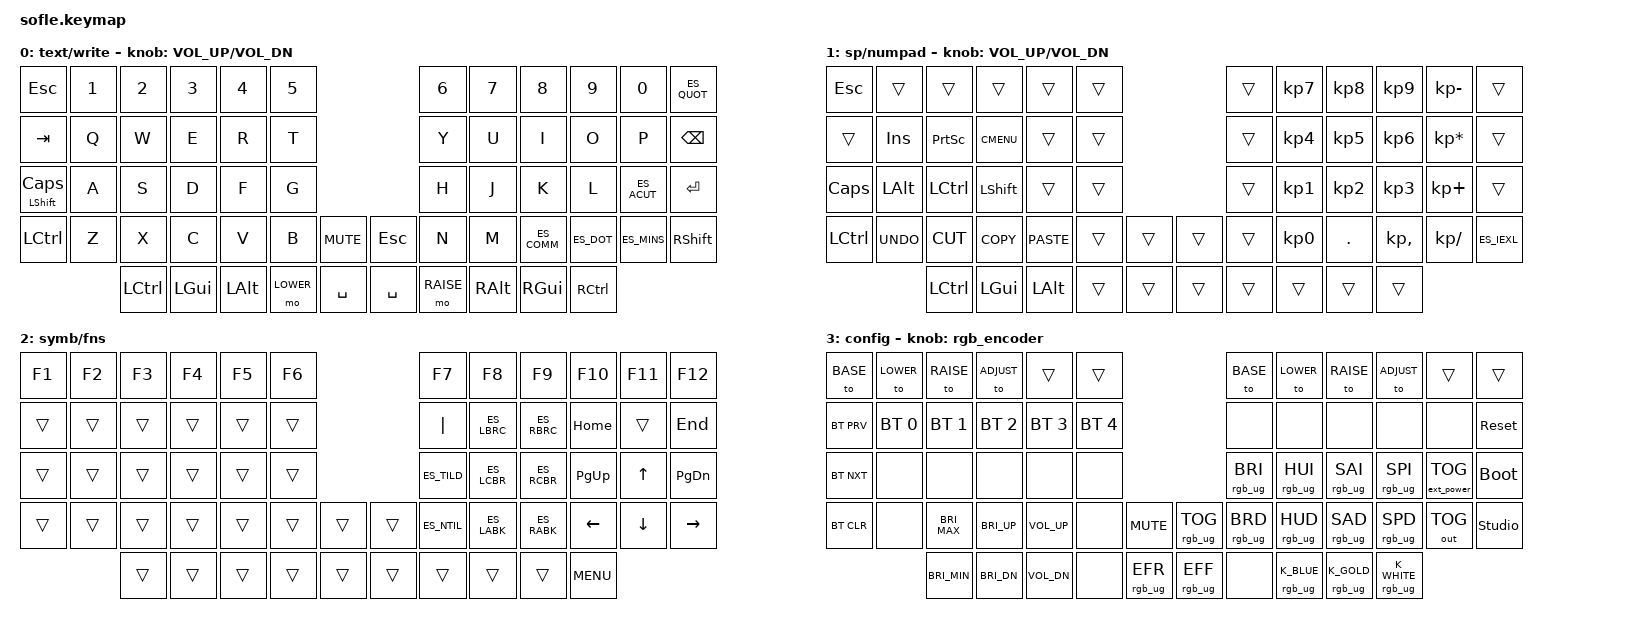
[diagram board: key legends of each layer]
/*
 * Copyright (c) 2020 The ZMK Contributors
 *
 * SPDX-License-Identifier: MIT
 */

#include <behaviors.dtsi>
#include <dt-bindings/zmk/keys.h>
#include <dt-bindings/zmk/bt.h>
#include <dt-bindings/zmk/rgb.h>
#include <dt-bindings/zmk/ext_power.h>
#include <dt-bindings/zmk/outputs.h>
#include <dt-bindings/led/led.h>

#include "spanish_layout.h"


&pinctrl {
    spi3_default: spi3_default {
        group1 {
            psels = <NRF_PSEL(SPIM_MOSI, 0, 8)>;
        };
    };

    spi3_sleep: spi3_sleep {
        group1 {
            psels = <NRF_PSEL(SPIM_MOSI, 0, 8)>;
            low-power-enable;
        };
    };
};

&spi3 {
    compatible = "nordic,nrf-spim";
    status = "okay";

    pinctrl-0 = <&spi3_default>;
    pinctrl-1 = <&spi3_sleep>;
    pinctrl-names = "default", "sleep";

    led_strip: ws2812@0 {
        compatible = "worldsemi,ws2812-spi";
        label = "WS2812";

        /* SPI */
        reg = <0>; /* ignored, but necessary for SPI bindings */
        spi-max-frequency = <4000000>;

        /* WS2812 */
        chain-length = <30>;
        spi-one-frame = <0x70>;
        spi-zero-frame = <0x40>;

        color-mapping = <LED_COLOR_ID_GREEN
                        LED_COLOR_ID_RED
                        LED_COLOR_ID_BLUE>;
    };
};

#define BASE 0
#define LOWER 1
#define RAISE 2
#define ADJUST 3

#define K_GOLD  RGB_COLOR_HSB(255,215,0)
#define K_WHITE RGB_COLOR_HSB(255,255,255)
#define K_BLUE  RGB_COLOR_HSB(0,0,255)

#define OUT_T    &out OUT_TOG
#define EXTPWR_T &ext_power EP_TOG

#define RGB_T   &rgb_ug RGB_TOG
#define LED_EFF &rgb_ug RGB_EFF
#define LED_EFR &rgb_ug RGB_EFR

// The caps word behavior behaves similar to a caps lock,
// but will automatically deactivate when any key not in a continue list is pressed,
// or if the caps word key is pressed again
&caps_word {
    continue-list = <UNDERSCORE MINUS>;
    mods = <(MOD_LSFT | MOD_LALT)>;
};

/ {
    chosen {
		zmk,underglow = &led_strip;
	};

    // Activate ADJUST layer by pressing raise and lower
    conditional_layers {
        compatible = "zmk,conditional-layers";
        adjust_layer {
            if-layers = <LOWER RAISE>;
            then-layer = <ADJUST>;
        };
    };

    behaviors {
        rot_kp: sensor_rotate_kp {
            compatible = "zmk,behavior-sensor-rotate-var";
            #sensor-binding-cells = <2>;
            bindings = <&kp>, <&kp>;
        };
        
        rgb_encoder: rgb_encoder {
            compatible = "zmk,behavior-sensor-rotate";
            #sensor-binding-cells = <0>;
            bindings = <&rgb_ug RGB_BRI>, <&rgb_ug RGB_BRD>;
        };
    };

    keymap {
        compatible = "zmk,keymap";

        default_layer {
            display-name = "text/write";
// ------------------------------------------------------------------------------------------------------------
// | ESC  |  1  |  2    |  3   |  4   |  5    |                  |  6    |  7   |  8   |  9    |   0   |   '   |
// | TAB  |  Q  |  W    |  E   |  R   |  T    |                  |  Y    |  U   |  I   |  O    |   P   | BKSPC |
// | S/C  |  A  |  S    |  D   |  F   |  G    |                  |  H    |  J   |  K   |  L    |   ´   | ENTER |
// | CTRL |  Z  |  X    |  C   |  V   |  B    | MUTE  |  | ESC   |  N    |  M   |  ,   |  .    |   -   | SHIFT |
//              | LCTRL | LGUI | LALT | LOWER | SPACE |  | SPACE | RAISE | RALT | RGUI | RCTRL |

            bindings = <
&kp ESC          &kp N1 &kp N2    &kp N3    &kp N4    &kp N5                           &kp N6 &kp N7    &kp N8       &kp N9      &kp N0        &kp ES_QUOT
&kp TAB          &kp Q  &kp W     &kp E     &kp R     &kp T                            &kp Y  &kp U     &kp I        &kp O       &kp P         &kp BSPC
&mt LSHIFT CLCK  &kp A  &kp S     &kp D     &kp F     &kp G                            &kp H  &kp J     &kp K        &kp L       &kp ES_ACUT   &kp RET
&kp LCTRL        &kp Z  &kp X     &kp C     &kp V     &kp B      &kp C_MUTE &kp ESC    &kp N  &kp M     &kp ES_COMM  &kp ES_DOT  &kp ES_MINS  &kp RSHFT
                        &kp LCTRL &kp LGUI  &kp LALT  &mo LOWER  &kp SPACE  &kp SPACE  &mo RAISE  &kp RALT &kp RGUI  &kp RCTRL
            >;

            sensor-bindings = <&rot_kp C_VOL_UP C_VOL_DN>;
        };

        lower_layer {
            display-name = "sp/numpad";
// ------------------------------------------------------------------------------------------------------------
// | ESC   |      |       |       |       |      |                       |      |  7    |  8    |  9   |   -   |       |                   
// | TAB   | INS  | PSCR  | GUI   |       |      |                       |      |  4    |  5    |  6   |   *   |       |                     
// | CAPS  | ALT  | CTRL  | SHIFT |       |      |                       |      |  1    |  2    |  3   |   +   |       |                     
// | LCTRL | UNDO | CUT   | COPY  | PASTE |      |      |        |       |      |  0    |  .    |  ,   |   \   |   =   |                     
//                | LCTRL | LGUI  | LALT  |      |      |        |       |      |       |       |      |                                     
            bindings = <
&kp ESC    &trans       &trans       &trans       &trans       &trans                    &trans     &kp KP_NUMBER_7  &kp KP_NUMBER_8  &kp KP_NUMBER_9  &kp KP_MINUS    &trans
&trans     &kp INS      &kp PSCRN    &kp K_CMENU  &trans       &trans                    &trans     &kp KP_NUMBER_4  &kp KP_NUMBER_5  &kp KP_NUMBER_6  &kp KP_ASTERISK &trans
&kp CLCK   &kp LALT     &kp LCTRL    &kp LSHFT    &trans       &trans                    &trans     &kp KP_NUMBER_1  &kp KP_NUMBER_2  &kp KP_NUMBER_3  &kp KP_PLUS     &trans
&kp LCTRL  &kp K_UNDO   &kp K_CUT    &kp K_COPY   &kp K_PASTE  &trans    &trans  &trans  &trans     &kp KP_NUMBER_0  &kp DOT          &kp KP_COMMA     &kp KP_SLASH    &kp ES_IEXL
                        &kp LCTRL    &kp LGUI     &kp LALT     &trans    &trans  &trans  &trans     &trans           &trans           &trans                                  
            >;

            sensor-bindings = <&rot_kp C_VOL_UP C_VOL_DN>;
        };

        raise_layer {
            display-name = "symb/fns";

// TODO: Some binds are waiting for shifted keycode support.
// ------------------------------------------------------------------------------------------------------------
// |  F1   | F2  |  F3 |  F4  |  F5  |  F6  |                       |  F7  |  F8  |  F9   |  F10  |  F11  | F12   |
// |       |     |     |      |      |      |                       |   |  |  [   |   ]   | HOME  |       | END   |
// |       |     |     |      |      |      |                       |   ~  |  {   |   }   | PGUP  |   ^   | PGDN  |
// |       |     |     |      |      |      |        |      |       |   ñ  |  <   |   >   |  <-   |   v   |   ->  |
//               |     |      |      |      |        |      |       |      |      |       | KMENU |                 

            bindings = <
&kp F1       &kp F2       &kp F3       &kp F4       &kp F5       &kp F6                         &kp F7       &kp F8       &kp F9      &kp F10   &kp F11   &kp F12     
&trans       &trans       &trans       &trans       &trans       &trans                         &kp PIPE     &kp ES_LBRC  &kp ES_RBRC &kp HOME  &trans    &kp END        
&trans       &trans       &trans       &trans       &trans       &trans                         &kp ES_TILD  &kp ES_LCBR  &kp ES_RCBR &kp PG_UP &kp UP    &kp PG_DN          
&trans       &trans       &trans       &trans       &trans       &trans       &trans    &trans  &kp ES_NTIL  &kp ES_LABK  &kp ES_RABK &kp LEFT  &kp DOWN  &kp RIGHT              
                          &trans       &trans       &trans       &trans       &trans    &trans  &trans       &trans       &trans      &kp K_MENU            
            >;
        };

        adjust_layer {
            display-name = "config";
// ----------------------------------------------------------------------------------------------------------------------------
// | LY0    | LY1      | LY2      |  LY3     | LY4      | LY5      |                      | LY0     | LY1     |  LY2    |  LY3    |  LY4       |  LY5       |
// | BT_PRV | BT_SEL 1 | BT_SEL 2 | BT_SEL 3 | BT_SEL 4 | BT_SEL 5 |                      |         |         |         |         |            | SYS_RESET  |
// | BT_NXT |          |          |          |          |          |                      | RGB_BRI | RGB_HUI | RGB_SAI | RGB_SPI | EXTPWR_TOG | BOOTLOADER |
// | BT_CLR |          | BRI_MAX  | BRI_UP   | VOL_UP   |          |   MUTE  |  | RGB_TOG | RGB_BRD | RGB_HUD | RGB_SAD | RGB_SPD | OUTPUT_TOG | ZMK_STUDIO |
//                     | BRI_MIN  | BRI_DN   | VOL_DN   |          | RGB_EFD |  | RGB_EFF |         | K_BLUE  | K_GOLD  | K_WHITE |

            bindings = <
&to BASE    &to LOWER    &to RAISE     &to ADJUST   &trans        &trans                              &to BASE        &to LOWER       &to RAISE       &to ADJUST      &trans   &trans
&bt BT_PRV  &bt BT_SEL 0 &bt BT_SEL 1  &bt BT_SEL 2 &bt BT_SEL 3  &bt BT_SEL 4                        &none           &none           &none           &none           &none    &sys_reset
&bt BT_NXT  &none        &none         &none        &none         &none                               &rgb_ug RGB_BRI &rgb_ug RGB_HUI &rgb_ug RGB_SAI &rgb_ug RGB_SPI EXTPWR_T &bootloader
&bt BT_CLR  &none        &kp C_BRI_MAX &kp C_BRI_UP &kp C_VOL_UP  &none        &kp C_MUTE   RGB_T    &rgb_ug RGB_BRD &rgb_ug RGB_HUD &rgb_ug RGB_SAD &rgb_ug RGB_SPD OUT_T    &studio_unlock 
                         &kp C_BRI_MIN &kp C_BRI_DN &kp C_VOL_DN  &none        LED_EFR      LED_EFF  &none           &rgb_ug K_BLUE  &rgb_ug K_GOLD  &rgb_ug K_WHITE
            >;

            sensor-bindings = <&rgb_encoder>;
        };

    };
};
